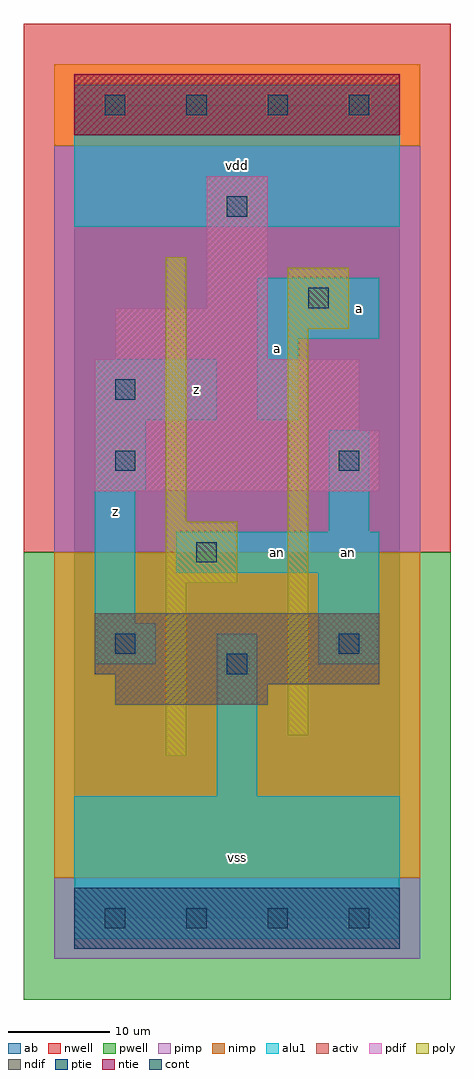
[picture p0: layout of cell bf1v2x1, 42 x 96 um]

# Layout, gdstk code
import gdstk
lib = gdstk.Library(unit=1e-6, precision=1e-09)
def R(c, l, rs):  # rectangles x0, y0, x1, y1
    for r in rs: c.add(gdstk.rectangle(r[:2], r[2:], *l))
def A(c, l, x, y, w, h, nx, ny, dx, dy):  # array of equal rectangles
    R(c, l, [(x+i*dx, y+j*dy, x+i*dx+w, y+j*dy+h) for i in range(nx) for j in range(ny)])
ndif = (3, 0)
pdif = (4, 0)
ntie = (5, 0)
ptie = (6, 0)
cont = (25, 0)
pwell = (41, 0)
nwell = (42, 0)
activ = (43, 0)
pimp = (44, 0)
nimp = (45, 0)
poly = (46, 0)
alu1 = (49, 0)
ab = (63, 0)

bf1v2x1 = lib.new_cell('bf1v2x1')
R(bf1v2x1, ndif, [(4,21,19,23), (4,23,30,24), (2,24,30,30)])
R(bf1v2x1, pdif, [(2,42,30,48), (2,48,28,55), (4,55,19,60), (13,60,19,73)])
R(bf1v2x1, ntie, [(0,77,32,83)])
R(bf1v2x1, ptie, [(0,-3,32,3)])
A(bf1v2x1, cont, 3, -1, 2, 2, 4, 2, 8, 80)
R(bf1v2x1, cont, [(15,24,17,26), (4,26,6,28), (26,26,28,28), (12,35,14,37), (4,44,6,46), (26,44,28,46), (4,51,6,53), (23,60,25,62), (15,69,17,71)])
R(bf1v2x1, pwell, [(-5,-8,37,36)])
R(bf1v2x1, nwell, [(-5,36,37,88)])
R(bf1v2x1, activ, [(0,-3,32,3), (4,21,19,23), (4,23,30,24), (2,24,30,30), (2,42,30,48), (2,48,28,55), (4,55,19,60), (13,60,19,73), (0,77,32,83)])
R(bf1v2x1, pimp, [(-2,-4,34,4), (-2,36,34,76)])
R(bf1v2x1, nimp, [(-2,4,34,36), (-2,76,34,84)])
R(bf1v2x1, poly, [(9,16,11,33), (21,18,23,58), (9,33,16,39), (9,39,11,65), (21,58,27,64)])
R(bf1v2x1, alu1, [(0,-2,32,12), (14,12,18,28), (2,25,8,29), (24,25,30,34), (2,29,6,42), (10,34,30,38), (25,38,29,48), (2,42,7,49), (2,49,14,55), (18,49,22,57), (18,57,30,63), (0,68,32,82)])
R(bf1v2x1, ab, [(0,0,32,80)])
bf1v2x1.add(gdstk.Label('an', (27,36), layer=49, texttype=0))
bf1v2x1.add(gdstk.Label('an', (20,36), layer=49, texttype=0))
bf1v2x1.add(gdstk.Label('z', (4,40), layer=49, texttype=0))
bf1v2x1.add(gdstk.Label('vss', (16,6), layer=49, texttype=0))
bf1v2x1.add(gdstk.Label('z', (12,52), layer=49, texttype=0))
bf1v2x1.add(gdstk.Label('vdd', (16,74), layer=49, texttype=0))
bf1v2x1.add(gdstk.Label('a', (20,56), layer=49, texttype=0))
bf1v2x1.add(gdstk.Label('a', (28,60), layer=49, texttype=0))

lib.write_gds('bf1v2x1.gds')
